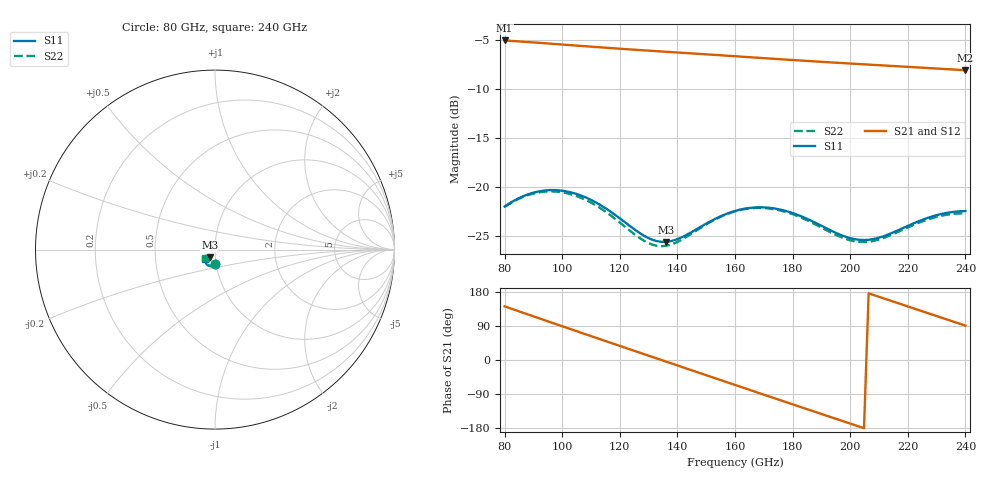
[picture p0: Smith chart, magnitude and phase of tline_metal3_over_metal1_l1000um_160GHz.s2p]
#  GHZ S DB R 50
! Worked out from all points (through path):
!   101 points, 80 GHz to 240 GHz, reference 50 ohm
!   highest |S21| = -5.10 dB at 80 GHz (marker M1); lowest = -8.1 dB at 240 GHz (marker M2)
!   group delay of S21, straight-line fit = 7.12 ps
!   lowest |S11| = -25.6 dB at 136 GHz (marker M3), VSWR 1.11, Z = 46.9 - j4.08 ohm
!   |S11| at or under -10 dB: start of sweep to end of sweep
!   |S22| runs from -26.0 to -20.5 dB; largest |S21 - S12| = 6.4e-14
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80  -21.99 -91.7  -5.10 141.5  -5.10 141.5  -22.04 -90.1
88  -20.77 -99.2  -5.25 120.5  -5.25 120.5  -20.84 -98.2
94.4  -20.35 -107.9  -5.39 103.7  -5.39 103.7  -20.47 -107.2
100.8  -20.42 -117.2  -5.53 87.0  -5.53 87.0  -20.59 -116.6
107.2  -20.95 -125.8  -5.67 70.3  -5.67 70.3  -21.19 -125.3
113.6  -21.90 -132.7  -5.80 53.7  -5.80 53.7  -22.23 -132.2
121.6  -23.56 -136.6  -5.97 33.1  -5.97 33.1  -24.01 -135.6
128  -24.90 -134.0  -6.09 16.6  -6.09 16.6  -25.41 -132.1
134.4  -25.59 -126.5  -6.22 0.1  -6.22 0.1  -26.03 -123.3
136  -25.60 -124.4  -6.25 -4.0  -6.25 -4.0  -25.99 -121.0
147.2  -24.21 -115.6  -6.46 -32.9  -6.46 -32.9  -24.33 -112.4
160  -22.45 -121.8  -6.70 -65.8  -6.70 -65.8  -22.49 -119.8
166.4  -22.10 -127.9  -6.82 -82.2  -6.82 -82.2  -22.16 -126.3
172.8  -22.15 -134.3  -6.95 -98.6  -6.95 -98.6  -22.23 -133.0
179.2  -22.58 -139.9  -7.07 -114.9  -7.07 -114.9  -22.69 -138.8
187.2  -23.55 -144.2  -7.22 -135.3  -7.22 -135.3  -23.71 -143.3
195.2  -24.70 -143.5  -7.36 -155.6  -7.36 -155.6  -24.91 -142.5
201.6  -25.32 -138.9  -7.47 -171.9  -7.47 -171.9  -25.54 -137.8
208  -25.31 -132.9  -7.58 171.9  -7.58 171.9  -25.50 -131.6
214.4  -24.70 -128.6  -7.69 155.6  -7.69 155.6  -24.87 -127.5
227.2  -23.12 -129.8  -7.90 123.1  -7.90 123.1  -23.29 -129.1
240  -22.46 -138.3  -8.12 90.7  -8.12 90.7  -22.69 -138.0
